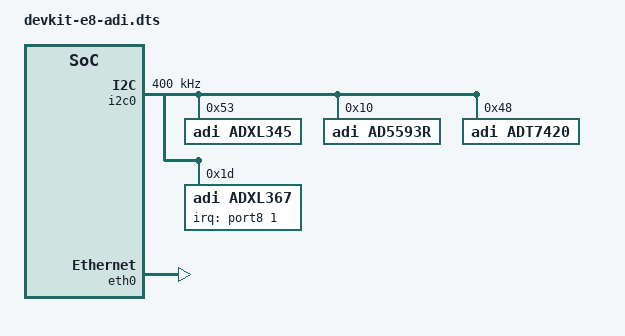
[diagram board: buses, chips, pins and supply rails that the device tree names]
// SPDX-License-Identifier: (GPL-2.0+)
/*
 * Copyright (C) 2026 Analog Devices, Inc.
 */
/dts-v1/;

#include "devkit-e8.dts"
#include <dt-bindings/interrupt-controller/irq.h>
#include <dt-bindings/iio/adi,ad5592r.h>

&i2c0 {
	clock-frequency = <400000>;
	status = "okay";

	adxl345@53 {
		compatible = "adi,adxl345";
		reg = <0x53>;
	};

	ad5593r@10 {
		compatible = "adi,ad5593r";
		reg = <0x10>;
		#address-cells = <1>;
		#size-cells = <0>;

		channel@0 {
			reg = <0>;
			adi,mode = <CH_MODE_ADC>;
		};
	};

	adt7420@48 {
		compatible = "adi,adt7420";
		reg = <0x48>;
	};

	adxl367@1d {
		compatible = "adi,adxl367";
		reg = <0x1d>;
		pinctrl-names = "default";
		pinctrl-0 = <&pinctrl_click_int>;
		interrupts-extended = <&port8 1 IRQ_TYPE_LEVEL_HIGH>;
	};
};

&eth0 {
	status = "okay";
};

&pinmux {
	pinctrl_click_int: click-intgrp {
		pinmux = <PIN_P8_1__GPIO 0x23>;
	};
};
